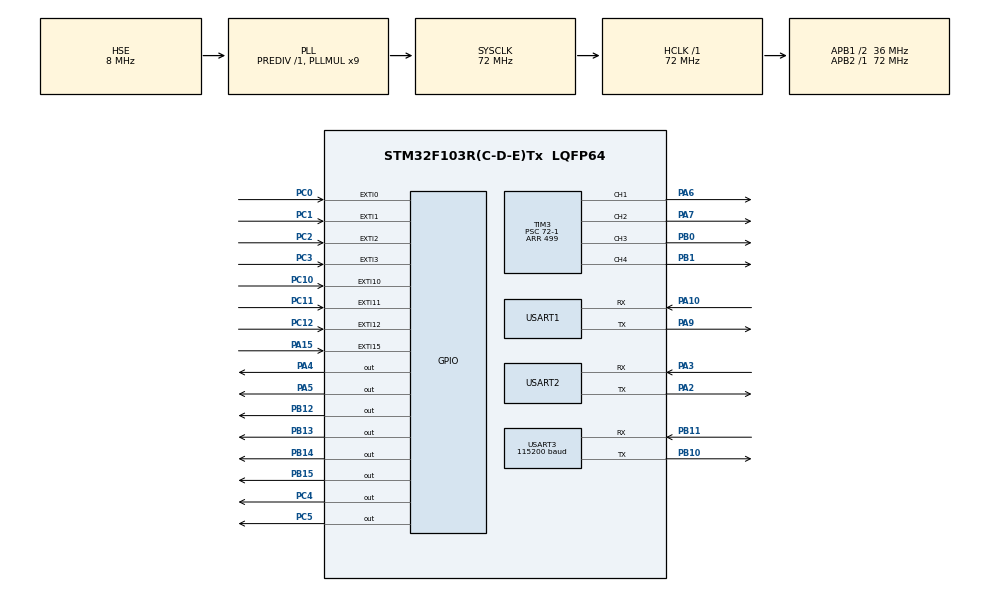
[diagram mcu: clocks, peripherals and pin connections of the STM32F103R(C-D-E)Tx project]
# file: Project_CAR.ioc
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Dma.Request0=USART3_RX
Dma.Request1=USART1_RX
Dma.Request2=USART2_RX
Dma.USART1_RX.1.Direction=DMA_PERIPH_TO_MEMORY
Dma.USART1_RX.1.Instance=DMA1_Channel5
Dma.USART1_RX.1.MemDataAlignment=DMA_MDATAALIGN_BYTE
Dma.USART1_RX.1.MemInc=DMA_MINC_ENABLE
Dma.USART1_RX.1.Mode=DMA_NORMAL
Dma.USART1_RX.1.PeriphDataAlignment=DMA_PDATAALIGN_BYTE
Dma.USART1_RX.1.PeriphInc=DMA_PINC_DISABLE
Dma.USART1_RX.1.Priority=DMA_PRIORITY_LOW
Dma.USART2_RX.2.Direction=DMA_PERIPH_TO_MEMORY
Dma.USART2_RX.2.Instance=DMA1_Channel6
Dma.USART2_RX.2.MemDataAlignment=DMA_MDATAALIGN_BYTE
Dma.USART2_RX.2.MemInc=DMA_MINC_ENABLE
Dma.USART2_RX.2.Mode=DMA_CIRCULAR
Dma.USART2_RX.2.PeriphDataAlignment=DMA_PDATAALIGN_BYTE
Dma.USART2_RX.2.PeriphInc=DMA_PINC_DISABLE
Dma.USART2_RX.2.Priority=DMA_PRIORITY_LOW
Dma.USART3_RX.0.Direction=DMA_PERIPH_TO_MEMORY
Dma.USART3_RX.0.Instance=DMA1_Channel3
Dma.USART3_RX.0.MemDataAlignment=DMA_MDATAALIGN_BYTE
Dma.USART3_RX.0.MemInc=DMA_MINC_ENABLE
Dma.USART3_RX.0.Mode=DMA_NORMAL
Dma.USART3_RX.0.PeriphDataAlignment=DMA_PDATAALIGN_BYTE
Dma.USART3_RX.0.PeriphInc=DMA_PINC_DISABLE
Dma.USART3_RX.0.Priority=DMA_PRIORITY_LOW
Mcu.Family=STM32F1
Mcu.Name=STM32F103R(C-D-E)Tx
Mcu.Package=LQFP64
NVIC.DMA1_Channel3_IRQn=true\:0\:0\:false\:false\:true\:false\:true\:true
NVIC.DMA1_Channel5_IRQn=true\:0\:0\:false\:false\:true\:false\:true\:true
NVIC.DMA1_Channel6_IRQn=true\:0\:0\:false\:false\:true\:false\:true\:true
NVIC.EXTI0_IRQn=true\:0\:0\:false\:false\:true\:true\:true\:true
NVIC.EXTI15_10_IRQn=true\:0\:0\:false\:false\:true\:true\:true\:true
NVIC.EXTI1_IRQn=true\:0\:0\:false\:false\:true\:true\:true\:true
NVIC.EXTI2_IRQn=true\:0\:0\:false\:false\:true\:true\:true\:true
NVIC.EXTI3_IRQn=true\:0\:0\:false\:false\:true\:true\:true\:true
NVIC.PriorityGroup=NVIC_PRIORITYGROUP_4
NVIC.TIM2_IRQn=true\:0\:0\:false\:false\:true\:true\:true\:true
NVIC.USART1_IRQn=true\:0\:0\:false\:false\:true\:true\:true\:true
NVIC.USART2_IRQn=true\:0\:0\:false\:false\:true\:true\:true\:true
NVIC.USART3_IRQn=true\:0\:0\:false\:false\:true\:true\:true\:true
PA10.Mode=Asynchronous
PA10.Signal=USART1_RX
PA13.Mode=Serial_Wire
PA13.Signal=SYS_JTMS-SWDIO
PA14.Mode=Serial_Wire
PA14.Signal=SYS_JTCK-SWCLK
PA15.GPIO_ModeDefaultEXTI=GPIO_MODE_IT_RISING_FALLING
PA15.Signal=GPXTI15
PA2.Mode=Asynchronous
PA2.Signal=USART2_TX
PA3.Mode=Asynchronous
PA3.Signal=USART2_RX
PA4.Signal=GPIO_Output
PA5.Signal=GPIO_Output
PA6.Signal=S_TIM3_CH1
PA7.Signal=S_TIM3_CH2
PA9.Mode=Asynchronous
PA9.Signal=USART1_TX
PB0.Signal=S_TIM3_CH3
PB1.Signal=S_TIM3_CH4
PB10.Mode=Asynchronous
PB10.Signal=USART3_TX
PB11.Mode=Asynchronous
PB11.Signal=USART3_RX
PB12.Signal=GPIO_Output
PB13.Signal=GPIO_Output
PB14.Signal=GPIO_Output
PB15.Signal=GPIO_Output
PC0.GPIO_ModeDefaultEXTI=GPIO_MODE_IT_RISING_FALLING
PC0.Signal=GPXTI0
PC1.GPIO_ModeDefaultEXTI=GPIO_MODE_IT_RISING_FALLING
PC1.Signal=GPXTI1
PC10.GPIO_ModeDefaultEXTI=GPIO_MODE_IT_RISING_FALLING
PC10.Signal=GPXTI10
PC11.GPIO_ModeDefaultEXTI=GPIO_MODE_IT_RISING_FALLING
PC11.Signal=GPXTI11
PC12.GPIO_ModeDefaultEXTI=GPIO_MODE_IT_RISING_FALLING
PC12.Signal=GPXTI12
PC2.GPIO_ModeDefaultEXTI=GPIO_MODE_IT_RISING_FALLING
PC2.Signal=GPXTI2
PC3.GPIO_ModeDefaultEXTI=GPIO_MODE_IT_RISING_FALLING
PC3.Signal=GPXTI3
PC4.Signal=GPIO_Output
PC5.Signal=GPIO_Output
PD0-OSC_IN.Mode=HSE-External-Oscillator
PD0-OSC_IN.Signal=RCC_OSC_IN
PD1-OSC_OUT.Mode=HSE-External-Oscillator
PD1-OSC_OUT.Signal=RCC_OSC_OUT
ProjectManager.HeapSize=0x200
ProjectManager.StackSize=0x400
ProjectManager.TargetToolchain=MDK-ARM V5.32
RCC.AHBFreq_Value=72000000
RCC.APB1CLKDivider=RCC_HCLK_DIV2
RCC.APB1Freq_Value=36000000
RCC.APB1TimFreq_Value=72000000
RCC.APB2Freq_Value=72000000
RCC.APB2TimFreq_Value=72000000
RCC.HCLKFreq_Value=72000000
RCC.PLLMUL=RCC_PLL_MUL9
RCC.PLLSourceVirtual=RCC_PLLSOURCE_HSE
RCC.SYSCLKFreq_VALUE=72000000
RCC.SYSCLKSource=RCC_SYSCLKSOURCE_PLLCLK
RCC.USBFreq_Value=72000000
SH.S_TIM3_CH1.0=TIM3_CH1,PWM Generation1 CH1
SH.S_TIM3_CH2.0=TIM3_CH2,PWM Generation2 CH2
SH.S_TIM3_CH3.0=TIM3_CH3,PWM Generation3 CH3
SH.S_TIM3_CH4.0=TIM3_CH4,PWM Generation4 CH4
TIM2.AutoReloadPreload=TIM_AUTORELOAD_PRELOAD_ENABLE
TIM2.Period=10000-1
TIM2.Prescaler=72-1
TIM3.AutoReloadPreload=TIM_AUTORELOAD_PRELOAD_ENABLE
TIM3.Channel-PWM\ Generation1\ CH1=TIM_CHANNEL_1
TIM3.Channel-PWM\ Generation2\ CH2=TIM_CHANNEL_2
TIM3.Channel-PWM\ Generation3\ CH3=TIM_CHANNEL_3
TIM3.Channel-PWM\ Generation4\ CH4=TIM_CHANNEL_4
TIM3.OCPolarity_1=TIM_OCPOLARITY_HIGH
TIM3.OCPolarity_2=TIM_OCPOLARITY_HIGH
TIM3.Period=499
TIM3.Prescaler=72-1
USART1.VirtualMode=VM_ASYNC
USART2.VirtualMode=VM_ASYNC
USART3.BaudRate=115200
USART3.VirtualMode=VM_ASYNC
VP_TIM2_VS_ClockSourceINT.Mode=Internal
VP_TIM3_VS_ClockSourceINT.Mode=Internal
board=custom

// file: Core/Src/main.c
/* USER CODE BEGIN Header */
/**
 ******************************************************************************
 * @file           : main.c
 * @brief          : Main program body
 ******************************************************************************
 * @attention
 *
 * Copyright (c) 2023 STMicroelectronics.
 * All rights reserved.
 *
 * This software is licensed under terms that can be found in the LICENSE file
 * in the root directory of this software component.
 * If no LICENSE file comes with this software, it is provided AS-IS.
 *
 ******************************************************************************
 */
/* USER CODE END Header */
#include "main.h"
#include "dma.h"
#include "tim.h"
#include "usart.h"
#include "gpio.h"
#include "zigbee_edc25.h"
#include <stdlib.h>
#include <string.h>
#include <stdbool.h>

void SystemClock_Config(void);

/* USER CODE BEGIN 0 */
int count;
int count1;
int count2;
int count3;
float YAW;
float startYAW;
int state = 0;
pid_str pidstr;
pid_str pidstr1;
pid_str pidstr2;
pid_str pidstr3;
#define PID_MIN -400
#define PID_MAX 400
#define LENGTH 8
int dir;
extern int printf_port;
void runrunrun();

uint8_t u1_RX_Buf[6] = {0};

// 定义全局变量
typedef struct
{
    int x;
    int y;
} Position;
Position des_pos;
// 定义全局变量
int startFlag = 0;
Position my_home_pos;
Position op_home_pos;
Position my_pos;
Position op_pos;
int map_height[8][8];
uint8_t map[8][8] = {
    0,
    2,
    0,
    1,
    0,
    0,
    0,
    0,
    0,
    0,
    0,
    0,
    0,
    0,
    0,
    0,
    1,
    0,
    0,
    0,
    0,
    0,
    0,
    0,
    0,
    0,
    0,
    0,
    0,
    0,
    0,
    0,
    0,
    0,
    0,
    0,
    0,
    0,
    0,
    1,
    0,
    0,
    0,
    0,
    0,
    2,
    0,
    0,
};
// 可调参数
int stole_height = 3;
int stole_wool_num = 8;
int stole_step = 8;
int move_wool_num = 16;
int mine_wool_num = 16;
int safe_home_height = 5;
int agility_limit = 20;
int strength_limit = 20;
int health_limit = 5;
int health_height_limit = 35;

// 地图信息
// 需要调控好顺序，靠近自己这方的放在前后
int gold_num;
int dia_num;
int iron_num;
bool gold_judge = true;
bool dia_judge = true;
bool iron_judge = true;
// 在全局作用域内声明指针并用NULL初始化
Position *gold_pos_list = NULL;
Position *dia_pos_list = NULL;
Position *iron_pos_list = NULL;
// 函数声明
//  辅助函数
//  将chunk_id转换为坐标
//  设定目标位置
void Destination();
void Destination2();
void DestinationSet(int x, int y);
// 获得目标位置
Position_edc25 DestinationGet();
// 启动小车
void StartMoving();
// 停止小车
void StopMoving();
void getHeightAllChunks();
int getHeightOfChunk(int chunk_id);
void getMyPosition(Position *my_pos);
void getMyOpponentPosition(Position *op_pos);
Position_edc25 chunk_id_to_pos(int chunk_id);
// 将坐标转换为chunk_id
int pos_to_chunk_id(Position pos);
// 计算两点之间的曼哈顿距离
int get_distance(Position pos1, Position pos2);
// 确定己方以及对方家的位置，初始化时完成
void get_home_pos();
// 释放分配的内存
void freePosPath(Position_edc25 *pos_path);
// 回溯法生成所有路径
void backtrack(char **paths, int *pathCount, char *path, int left_steps, int up_steps, int index);
char **generatePaths(int x, int y, int *pathCount);
Position *find_path(Position start, Position end, int *wool_need);
bool track(Position my_pos, Position des_pos, int wool_num);
void attack();
// 黄金矿
int gold_mining();
// 铁矿
int iron_mining();
// 偷家函数
bool steal();
// 死亡循迹函数
bool move_to_pos(Position my_home_pos);
// 死亡函数
void die();
void turn_left();
void turn_right();
void moveOneBlock(Position now, Position target);
/* USER CODE END 0 */

int main(void)
{
    /* USER CODE BEGIN 1 */
    /* USER CODE BEGIN 1 */

    /* USER CODE END 1 */

    /* MCU Configuration--------------------------------------------------------*/

    /* Reset of all peripherals, Initializes the Flash interface and the Systick. */
    HAL_Init();

    /* Configure the system clock */
    SystemClock_Config();

    /* Initialize all configured peripherals */
    MX_GPIO_Init();
    MX_DMA_Init();
    MX_TIM3_Init();
    MX_USART1_UART_Init();
    MX_USART2_UART_Init();
    MX_TIM2_Init();
    MX_USART3_UART_Init();
    HAL_UART_Receive_DMA(&huart1, u1_RX_Buf, 1);
    /* USER CODE BEGIN 2 */
    jy62_Init(&huart3);
    zigbee_Init(&huart2);
    HAL_TIM_Base_Start_IT(&htim2);
    HAL_TIM_PWM_Start(&htim3, TIM_CHANNEL_1);
    HAL_TIM_PWM_Start(&htim3, TIM_CHANNEL_2);
    HAL_TIM_PWM_Start(&htim3, TIM_CHANNEL_3);
    HAL_TIM_PWM_Start(&htim3, TIM_CHANNEL_4);
    HAL_GPIO_WritePin(GPIOB, GPIO_PIN_12, GPIO_PIN_SET);
    HAL_GPIO_WritePin(GPIOB, GPIO_PIN_13, GPIO_PIN_RESET);
    HAL_GPIO_WritePin(GPIOB, GPIO_PIN_14, GPIO_PIN_SET);
    HAL_GPIO_WritePin(GPIOB, GPIO_PIN_15, GPIO_PIN_RESET);
    HAL_GPIO_WritePin(GPIOA, GPIO_PIN_4, GPIO_PIN_SET);
    HAL_GPIO_WritePin(GPIOA, GPIO_PIN_5, GPIO_PIN_RESET);
    HAL_GPIO_WritePin(GPIOC, GPIO_PIN_4, GPIO_PIN_SET);
    HAL_GPIO_WritePin(GPIOC, GPIO_PIN_5, GPIO_PIN_RESET);
    __HAL_TIM_SET_COMPARE(&htim3, TIM_CHANNEL_1, 0);
    __HAL_TIM_SET_COMPARE(&htim3, TIM_CHANNEL_2, 0);
    __HAL_TIM_SET_COMPARE(&htim3, TIM_CHANNEL_3, 0);
    __HAL_TIM_SET_COMPARE(&htim3, TIM_CHANNEL_4, 0);
    pidstr.Kd = 70;
    pidstr.Ki = 7;
    pidstr.Kp = 40;
    pidstr.lr = 0;
    pidstr.sum = 0;
    pidstr1.Kd = 70;
    pidstr1.Ki = 7;
    pidstr1.Kp = 40;
    pidstr1.lr = 0;
    pidstr1.sum = 0;
    pidstr2.Kd = 70;
    pidstr2.Ki = 7;
    pidstr2.Kp = 40;
    pidstr2.lr = 0;
    pidstr2.sum = 0;
    pidstr3.Kd = 70;
    pidstr3.Ki = 7;
    pidstr3.Kp = 40;
    pidstr3.lr = 0;
    pidstr3.sum = 0;
    /* USER CODE END 2 */

    /* Infinite loop */
    /* USER CODE BEGIN WHILE */
    SetBaud(115200);
    SetHorizontal();
    InitAngle();
    Calibrate();
    SleepOrAwake();
    uint8_t hp = 0;
    uint8_t Aglity = 0;
    uint8_t count = 0;
    uint8_t time = 0;
    Position_edc25 Pos;
    Position_edc25 OpponentPos;
    uint8_t Height[64];
    gold_pos_list = (Position *)malloc(gold_num * sizeof(Position));
    dia_pos_list = (Position *)malloc(dia_num * sizeof(Position));
    iron_pos_list = (Position *)malloc(iron_num * sizeof(Position));
    bool judge;
    bool first = true;
    while (1)
    {
        /* USER CODE END WHILE */

        /* USER CODE BEGIN 3 */
        // __HAL_TIM_SetCompare(&htim3, TIM_CHANNEL_1, 0);
        // __HAL_TIM_SetCompare(&htim3, TIM_CHANNEL_2, 0);
        // __HAL_TIM_SetCompare(&htim3, TIM_CHANNEL_3, 0);
        // __HAL_TIM_SetCompare(&htim3, TIM_CHANNEL_4, 0);
        printf_port = 1;
        float roll = GetRoll();
        float pitch = GetPitch();
        float yaw = GetYaw();
        YAW = yaw;
        printf("ROW: %f, PITCH:%f, YAW:%f\r\n", roll, pitch, yaw);
        hp = getHealth();
        time = getGameTime();
        Aglity = getAglity();
        count = getWoolCount();
        if (time != 0 && time < 2000)
        {
            printf("time:%d\r\n", time);
            printf("hp:%d\r\n", hp);
            printf("Aglity:%d\r\n", Aglity);
        }
        while (getGameStage() == 0)
        {
            my_home_pos.x = 0;
            my_home_pos.y = 0;
        }

        // 游戏阶段
        while (getGameStage() == 1)
        {
            Position_edc25 tp_pos;
            getPosition(&tp_pos);
            my_home_pos.x = tp_pos.posx;
            my_home_pos.y = tp_pos.posy;
            move_to_pos(my_home_pos);
        }
        // trade_id(1);
        // HAL_Delay(10000);
        // turn_left();
        // DestinationSet(0, 1);
        // }
        // getPosition(&Pos);
        // if (startFlag == 1)
        // {
        //     int countYellow = 0;
        //     int countBlue = 0;
        //     for (int i = 0; i < 8; i++)
        //     {
        //         for (int j = 0; j < 8; j++)
        //         {
        //             if (map[i][j] == 1)
        //             {
        //                 Position pos = {i, j};
        //                 gold_pos_list[countYellow] = pos;
        //             }
        //             if (map[i][j] == 2)
        //             {
        //                 Position pos = {i, j};
        //                 dia_pos_list[countBlue] = pos;
        //             }
        //         }
        //     }

        //     以下为策略代码

        //     while (getGameStage() == 1)
        //     {
        //         die();
        //         超过10分钟，进入对抗阶段
        //         if (getGameTime() >= 600)
        //         {
        //             break;
        //         }
        //         能偷家就偷
        //         if (steal(map_height))
        //         {
        //             getHeightAllChunks();
        //             getMyPosition(&my_pos);
        //             judge = track(my_pos, my_home_pos, getWoolCount());
        //             if (judge == false)
        //             {
        //                 move_to_pos(my_home_pos);
        //             }
        //             continue;
        //         }
        //         前期采矿
        //         if (getWoolCount() < move_wool_num)
        //         {
        //             if (first)
        //             {
        //                 dia_mining_first();
        //                 first = false;
        //             }
        //             else
        //             {
        //                 dia_mining();
        //             }
        //             getHeightAllChunks();
        //             getMyPosition(&my_pos);
        //             judge = track(my_pos, my_home_pos, getWoolCount());
        //             if (judge == false)
        //             {
        //                 move_to_pos(my_home_pos);
        //             }
        //             while (getEmeraldCount() >= 2)
        //             {
        //                 trade_id(3);
        //             }
        //             while (getHeightOfChunk(pos_to_chunk_id(my_home_pos)) <= safe_home_height && getWoolCount() > 0)
        //             {
        //                 place_block_id(pos_to_chunk_id(my_home_pos));
        //             }
        //             gold_mining();
        //             getHeightAllChunks();
        //             getMyPosition(&my_pos);
        //             judge = track(my_pos, my_home_pos, getWoolCount());
        //             if (judge == false)
        //             {
        //                 move_to_pos(my_home_pos);
        //             }
        //             while (getEmeraldCount() >= 2)
        //             {
        //                 trade_id(3);
        //             }
        //             while (getHeightOfChunk(pos_to_chunk_id(my_home_pos)) <= safe_home_height && getWoolCount() > 0)
        //             {
        //                 place_block_id(pos_to_chunk_id(my_home_pos));
        //             }
        //         }
        //         后期采矿
        //         else
        //         {
        //             dia_mining();
        //             gold_mining();
        //             getHeightAllChunks();
        //             getMyPosition(&my_pos);
        //             judge = track(my_pos, my_home_pos, getWoolCount());
        //             if (judge == false)
        //             {
        //                 move_to_pos(my_home_pos);
        //             }
        //             while (getHeightOfChunk(pos_to_chunk_id(my_home_pos)) <= safe_home_height && getWoolCount() > 0)
        //             {
        //                 place_block_id(pos_to_chunk_id(my_home_pos));
        //             }
        //             while (getEmeraldCount() >= 32 && getAglity() < agility_limit)
        //             {
        //                 trade_id(0);
        //             }
        //             while (getEmeraldCount() >= 64 && getStrength() < strength_limit)
        //             {
        //                 trade_id(2);
        //             }
        //             while (getEmeraldCount() >= 32 && getMaxHealth() < health_height_limit)
        //             {
        //                 trade_id(4);
        //             }
        //         }
        //     }

        //     战斗
        //     while (getGameStage() == 1)
        //     {
        //         if (getHealth() < 5)
        //         {
        //             attack();
        //             getHeightAllChunks();
        //             getMyPosition(&my_pos);
        //             judge = track(my_pos, my_home_pos, getWoolCount());
        //             if (judge == false)
        //             {
        //                 StopMoving();
        //                 continue;
        //             }
        //             while (getEmeraldCount() >= 32)
        //             {
        //                 trade_id(1);
        //             }
        //             while (getEmeraldCount() >= 64 && getStrength() < strength_limit)
        //             {
        //                 trade_id(2);
        //             }
        //             while (getEmeraldCount() >= 32 && getMaxHealth() < health_height_limit)
        //             {
        //                 trade_id(4);
        //             }
        //         }
        //         攻击不到对方，窝家里
        //         getHeightAllChunks();
        //         getMyPosition(&my_pos);
        //         getMyOpponentPosition(&op_pos);
        //         int judge = track(my_pos, op_pos, getWoolCount());
        //         if (judge == 0)
        //         {
        //             StopMoving();
        //             attack();
        //             continue;
        //         }
        //         attack();
        //     }

        //     结束
        //     while (getGameStage() == 2)
        //     {
        //         StopMoving();
        //     }
        // }
    }
    /* USER CODE END 3 */
}

void SystemClock_Config(void)
{
    RCC_OscInitTypeDef RCC_OscInitStruct = {0};
    RCC_ClkInitTypeDef RCC_ClkInitStruct = {0};

    /** Initializes the RCC Oscillators according to the specified parameters
     * in the RCC_OscInitTypeDef structure.
     */
    RCC_OscInitStruct.OscillatorType = RCC_OSCILLATORTYPE_HSE;
    RCC_OscInitStruct.HSEState = RCC_HSE_ON;
    RCC_OscInitStruct.HSEPredivValue = RCC_HSE_PREDIV_DIV1;
    RCC_OscInitStruct.HSIState = RCC_HSI_ON;
    RCC_OscInitStruct.PLL.PLLState = RCC_PLL_ON;
    RCC_OscInitStruct.PLL.PLLSource = RCC_PLLSOURCE_HSE;
    RCC_OscInitStruct.PLL.PLLMUL = RCC_PLL_MUL9;
    if (HAL_RCC_OscConfig(&RCC_OscInitStruct) != HAL_OK)
    {
        Error_Handler();
    }

    /** Initializes the CPU, AHB and APB buses clocks
     */
    RCC_ClkInitStruct.ClockType = RCC_CLOCKTYPE_HCLK | RCC_CLOCKTYPE_SYSCLK | RCC_CLOCKTYPE_PCLK1 | RCC_CLOCKTYPE_PCLK2;
    RCC_ClkInitStruct.SYSCLKSource = RCC_SYSCLKSOURCE_PLLCLK;
    RCC_ClkInitStruct.AHBCLKDivider = RCC_SYSCLK_DIV1;
    RCC_ClkInitStruct.APB1CLKDivider = RCC_HCLK_DIV2;
    RCC_ClkInitStruct.APB2CLKDivider = RCC_HCLK_DIV1;

    if (HAL_RCC_ClockConfig(&RCC_ClkInitStruct, FLASH_LATENCY_2) != HAL_OK)
    {
        Error_Handler();
    }
}

/* USER CODE BEGIN 4 */

void Code1()
{
    if (HAL_GPIO_ReadPin(GPIOC, GPIO_PIN_2) == 0) // 判断A为下降沿
    {
        if (HAL_GPIO_ReadPin(GPIOC, GPIO_PIN_3) == 0) // 正转
        {
            count += 1;
        }
        if (HAL_GPIO_ReadPin(GPIOC, GPIO_PIN_3) == 1) // 反转
        {
            count -= 1;
        }
    }
    else
    {
        if (HAL_GPIO_ReadPin(GPIOC, GPIO_PIN_3) == 0) // 正转
        {
            count -= 1;
        }
        if (HAL_GPIO_ReadPin(GPIOC, GPIO_PIN_3) == 1) // 反转
        {
            count += 1;
        }
    }
}
void Code0()
{
    if (HAL_GPIO_ReadPin(GPIOC, GPIO_PIN_2) == 0) // 判断A为下降沿
    {
        if (HAL_GPIO_ReadPin(GPIOC, GPIO_PIN_3) == 0) // 正转
        {
            count -= 1;
        }
        if (HAL_GPIO_ReadPin(GPIOC, GPIO_PIN_3) == 1) // 反转
        {
            count += 1;
        }
    }
    else
    {
        if (HAL_GPIO_ReadPin(GPIOC, GPIO_PIN_3) == 0) // 正转
        {
            count += 1;
        }
        if (HAL_GPIO_ReadPin(GPIOC, GPIO_PIN_3) == 1) // 反转
        {
            count -= 1;
        }
    }
}
void Code2()
{
    if (HAL_GPIO_ReadPin(GPIOC, GPIO_PIN_0) == 0) // 判断A为下降沿
    {
        if (HAL_GPIO_ReadPin(GPIOC, GPIO_PIN_1) == 0) // 正转
        {
            count1 += 1;
        }
        if (HAL_GPIO_ReadPin(GPIOC, GPIO_PIN_1) == 1) // 反转
        {
            count1 -= 1;
        }
    }
    else
    {
        if (HAL_GPIO_ReadPin(GPIOC, GPIO_PIN_1) == 0) // 正转
        {
            count1 -= 1;
        }
        if (HAL_GPIO_ReadPin(GPIOC, GPIO_PIN_1) == 1) // 反转
        {
            count1 += 1;
        }
    }
}
void Code3()
{
    if (HAL_GPIO_ReadPin(GPIOC, GPIO_PIN_0) == 0) // 判断A为下降沿
    {
        if (HAL_GPIO_ReadPin(GPIOC, GPIO_PIN_1) == 0) // 正转
        {
            count1 -= 1;
        }
        if (HAL_GPIO_ReadPin(GPIOC, GPIO_PIN_1) == 1) // 反转
        {
            count1 += 1;
        }
    }
    else
    {
        if (HAL_GPIO_ReadPin(GPIOC, GPIO_PIN_1) == 0) // 正转
        {
            count1 += 1;
        }
        if (HAL_GPIO_ReadPin(GPIOC, GPIO_PIN_1) == 1) // 反转
        {
            count1 -= 1;
        }
    }
}
void code5()
{
    if (HAL_GPIO_ReadPin(GPIOA, GPIO_PIN_15) == 0) // 判断A为下降沿
    {
        if (HAL_GPIO_ReadPin(GPIOC, GPIO_PIN_10) == 0) // 正转
        {
            count2 += 1;
        }
        if (HAL_GPIO_ReadPin(GPIOC, GPIO_PIN_10) == 1) // 反转
        {
            count2 -= 1;
        }
    }
    else
    {
        if (HAL_GPIO_ReadPin(GPIOC, GPIO_PIN_10) == 0) // 正转
        {
            count2 -= 1;
        }
        if (HAL_GPIO_ReadPin(GPIOC, GPIO_PIN_10) == 1) // 反转
        {
            count2 += 1;
        }
    }
}
void code6()
{
    if (HAL_GPIO_ReadPin(GPIOA, GPIO_PIN_15) == 0) // 判断A为下降沿
    {
        if (HAL_GPIO_ReadPin(GPIOC, GPIO_PIN_10) == 0) // 正转
        {
            count2 -= 1;
        }
        if (HAL_GPIO_ReadPin(GPIOC, GPIO_PIN_10) == 1) // 反转
        {
            count2 += 1;
        }
    }
    else
    {
        if (HAL_GPIO_ReadPin(GPIOC, GPIO_PIN_10) == 0) // 正转
        {
            count2 += 1;
        }
        if (HAL_GPIO_ReadPin(GPIOC, GPIO_PIN_10) == 1) // 反转
        {
            count2 -= 1;
        }
    }
}
void code7()
{
    if (HAL_GPIO_ReadPin(GPIOC, GPIO_PIN_11) == 0) // 判断A为下降沿
    {
        if (HAL_GPIO_ReadPin(GPIOC, GPIO_PIN_12) == 0) // 正转
        {
            count3 += 1;
        }
        if (HAL_GPIO_ReadPin(GPIOC, GPIO_PIN_12) == 1) // 反转
        {
            count3 -= 1;
        }
    }
    else
    {
        if (HAL_GPIO_ReadPin(GPIOC, GPIO_PIN_12) == 0) // 正转
        {
            count3 -= 1;
        }
        if (HAL_GPIO_ReadPin(GPIOC, GPIO_PIN_12) == 1) // 反转
        {
            count3 += 1;
        }
    }
}
void code8()
{
    if (HAL_GPIO_ReadPin(GPIOC, GPIO_PIN_11) == 0) // 判断A为下降沿
    {
        if (HAL_GPIO_ReadPin(GPIOC, GPIO_PIN_12) == 0) // 正转
        {
            count3 -= 1;
        }
        if (HAL_GPIO_ReadPin(GPIOC, GPIO_PIN_12) == 1) // 反转
        {
            count3 += 1;
        }
    }
    else
    {
        if (HAL_GPIO_ReadPin(GPIOC, GPIO_PIN_12) == 0) // 正转
        {
            count3 += 1;
        }
        if (HAL_GPIO_ReadPin(GPIOC, GPIO_PIN_12) == 1) // 反转
        {
            count3 -= 1;
        }
    }
}

float pid(pid_str *p, float dr)
{
    if (p->cset > 4)
        p->cset = 4;
    if (p->cset < -4)
        p->cset = -4;
    p->sum = p->sum + dr;
    if (p->sum > 500 || p->sum < -500)
        p->sum = 0;
    float pwm = p->Kp * dr + p->Ki * p->sum + p->Kd * (dr - p->lr);
    p->lr = dr;
    if (pwm >= PID_MAX)
        return PID_MAX;
    else if (pwm <= PID_MIN)
        return PID_MIN;
    return pwm;
}

void runrunrun()
{
    float cnow = count / 10.592;
    float cnow1 = count1 / 10.602;
    float cnow2 = count2 / 10.647;
    float cnow3 = count3 / 10.61;
    count = 0;
    count1 = 0;
    count2 = 0;
    count3 = 0;
    float dr = pidstr.cset - cnow;
    float dr1 = pidstr1.cset - cnow1;
    float dr2 = pidstr2.cset - cnow2;
    float dr3 = pidstr3.cset - cnow3;
    float pwm = pid(&pidstr, dr);
    float pwm1 = pid(&pidstr1, dr1);
    float pwm2 = pid(&pidstr2, dr2);
    float pwm3 = pid(&pidstr3, dr3);
    if (pidstr.cset > 0)
    {
        HAL_GPIO_WritePin(GPIOA, GPIO_PIN_4, GPIO_PIN_RESET);
        HAL_GPIO_WritePin(GPIOA, GPIO_PIN_5, GPIO_PIN_SET);
        __HAL_TIM_SetCompare(&htim3, TIM_CHANNEL_1, pwm);
    }
    if (pidstr.cset < 0)
    {
        HAL_GPIO_WritePin(GPIOA, GPIO_PIN_4, GPIO_PIN_SET);
        HAL_GPIO_WritePin(GPIOA, GPIO_PIN_5, GPIO_PIN_RESET);
        __HAL_TIM_SetCompare(&htim3, TIM_CHANNEL_1, pwm);
    }
    if (pidstr.cset == 0)
    {
        pidstr.lr = 0;
        pidstr.sum = 0;
        __HAL_TIM_SetCompare(&htim3, TIM_CHANNEL_1, 0);
    }
    if (pidstr1.cset > 0)
    {
        HAL_GPIO_WritePin(GPIOC, GPIO_PIN_4, GPIO_PIN_SET);
        HAL_GPIO_WritePin(GPIOC, GPIO_PIN_5, GPIO_PIN_RESET);
        __HAL_TIM_SetCompare(&htim3, TIM_CHANNEL_2, pwm1);
    }
    if (pidstr1.cset < 0)
    {
        HAL_GPIO_WritePin(GPIOC, GPIO_PIN_4, GPIO_PIN_RESET);
        HAL_GPIO_WritePin(GPIOC, GPIO_PIN_5, GPIO_PIN_SET);
        __HAL_TIM_SetCompare(&htim3, TIM_CHANNEL_2, pwm1);
    }
    if (pidstr1.cset == 0)
    {
        pidstr1.lr = 0;
        pidstr1.sum = 0;
        __HAL_TIM_SetCompare(&htim3, TIM_CHANNEL_2, 0);
    }
    if (pidstr2.cset > 0)
    {
        HAL_GPIO_WritePin(GPIOB, GPIO_PIN_14, GPIO_PIN_RESET);
        HAL_GPIO_WritePin(GPIOB, GPIO_PIN_15, GPIO_PIN_SET);
        __HAL_TIM_SetCompare(&htim3, TIM_CHANNEL_3, pwm2);
    }
    if (pidstr2.cset < 0)
    {
        HAL_GPIO_WritePin(GPIOB, GPIO_PIN_14, GPIO_PIN_SET);
        HAL_GPIO_WritePin(GPIOB, GPIO_PIN_15, GPIO_PIN_RESET);
        __HAL_TIM_SetCompare(&htim3, TIM_CHANNEL_3, pwm2);
    }
    if (pidstr2.cset == 0)
    {
        pidstr2.lr = 0;
        pidstr2.sum = 0;
        __HAL_TIM_SetCompare(&htim3, TIM_CHANNEL_3, 0);
    }
    if (pidstr3.cset > 0)
    {
        HAL_GPIO_WritePin(GPIOB, GPIO_PIN_12, GPIO_PIN_SET);
        HAL_GPIO_WritePin(GPIOB, GPIO_PIN_13, GPIO_PIN_RESET);
        __HAL_TIM_SetCompare(&htim3, TIM_CHANNEL_4, pwm3);
    }
    if (pidstr3.cset < 0)
    {
        HAL_GPIO_WritePin(GPIOB, GPIO_PIN_12, GPIO_PIN_RESET);
        HAL_GPIO_WritePin(GPIOB, GPIO_PIN_13, GPIO_PIN_SET);
        __HAL_TIM_SetCompare(&htim3, TIM_CHANNEL_4, pwm3);
    }
    if (pidstr3.cset == 0)
    {
        pidstr3.lr = 0;
        pidstr3.sum = 0;
        __HAL_TIM_SetCompare(&htim3, TIM_CHANNEL_4, 0);
    }
}

void HAL_GPIO_EXTI_Callback(uint16_t GPIO_Pin)
{
    if (GPIO_Pin == GPIO_PIN_2)
    {
        Code1();
    }
    if (GPIO_Pin == GPIO_PIN_3)
    {
        Code0();
    }
    if (GPIO_Pin == GPIO_PIN_0)
    {
        Code2();
    }
    if (GPIO_Pin == GPIO_PIN_1)
    {
        Code3();
    }
    if (GPIO_Pin == GPIO_PIN_10)
    {
        code5();
    }
    if (GPIO_Pin == GPIO_PIN_15)
    {
        code6();
    }
    if (GPIO_Pin == GPIO_PIN_11)
    {
        code7();
    }
    if (GPIO_Pin == GPIO_PIN_12)
    {
        code8();
    }
}

void HAL_TIM_PeriodElapsedCallback(TIM_HandleTypeDef *htim)
{
    if (htim == (&htim2))
    {
        printf_port = 1;
        runrunrun();
        // printf("count = %d\r\n", count / 4);
        // printf("count1 = %d\r\n", count1 / 4);
        // printf("count2 = %d\r\n", count2 / 4);
        // printf("count3 = %d\r\n", count3 / 4);
    }
}
void forward()
{
    pidstr.cset = 1.5;
    pidstr1.cset = -1.5;
    pidstr2.cset = 1.5;
    pidstr3.cset = -1.5;
}
void backward()
{
    pidstr.cset = -1.5;
    pidstr1.cset = 1.5;
    pidstr2.cset = -1.5;
    pidstr3.cset = 1.5;
}
void stop()
{
    pidstr.cset = 0;
    pidstr1.cset = 0;
    pidstr2.cset = 0;
    pidstr3.cset = 0;
}
void rightward()
{
    pidstr.cset = 1.5;
    pidstr1.cset = 1.5;
    pidstr2.cset = 1.5;
    pidstr3.cset = 1.5;
}
void leftward()
{
    pidstr.cset = -1.5;
    pidstr1.cset = -1.5;
    pidstr2.cset = -1.5;
    pidstr3.cset = -1.5;
}
void Destination()
{
    HAL_Delay(1000);
    place_block_id(1);
    forward();
    Position_edc25 temp; // 用于存储当前位置
    getPosition(&temp);  // 获取当前位置
    while (temp.posx < 1.4)
    {
        getPosition(&temp); // 获取当前位置
    }
    stop();
    HAL_Delay(500);

    backward();
    getPosition(&temp); // 获取当前位置
    while (temp.posx >= 0.8)
    {
        getPosition(&temp); // 获取当前位置
    }
    stop();
    HAL_Delay(1000);
    for (int i = 0; i < 5; i++)
    {
        trade_id(3);
        HAL_Delay(50);
    }
    HAL_Delay(1000);

    forward();
    getPosition(&temp); // 获取当前位置
    while (temp.posx < 1.4)
    {
        getPosition(&temp); // 获取当前位置
    }
    stop();
    HAL_Delay(500);

    place_block_id(2);
    forward();
    getPosition(&temp); // 获取当前位置
    while (temp.posx < 2.4)
    {
        getPosition(&temp); // 获取当前位置
    }
    stop();
    HAL_Delay(500);

    place_block_id(3);
    forward();
    getPosition(&temp); // 获取当前位置
    while (temp.posx < 3.4)
    {
        getPosition(&temp); // 获取当前位置
    }
    stop();
    HAL_Delay(500);

    place_block_id(11);
    rightward();
    getPosition(&temp); // 获取当前位置
    while (temp.posy < 1.5)
    {
        getPosition(&temp); // 获取当前位置
    }
    stop();
    HAL_Delay(500);

    leftward();
    getPosition(&temp); // 获取当前位置
    while (temp.posy >= 0.5)
    {
        getPosition(&temp); // 获取当前位置
    }
    stop();
    HAL_Delay(500);

    backward();
    getPosition(&temp); // 获取当前位置
    while (temp.posx >= 1.8)
    {
        getPosition(&temp); // 获取当前位置
    }
    stop();
    HAL_Delay(500);

    backward();
    getPosition(&temp); // 获取当前位置
    while (temp.posx >= 0.8)
    {
        getPosition(&temp); // 获取当前位置
    }
    stop();
    HAL_Delay(500);

    trade_id(1);

    while (1)
    {
        if (getGameTime() > 200)
            break;
        if (getGameTime() <= 200)
        {
            if (getHeightOfChunk(1) == 0)
            {
                place_block_id(1);
            }
            forward();
            getPosition(&temp); // 获取当前位置
            while (temp.posx < 1.4)
            {
                getPosition(&temp); // 获取当前位置
            }
            stop();
            HAL_Delay(500);

            if (getHeightOfChunk(2) == 0)
            {
                place_block_id(2);
            }
            forward();
            getPosition(&temp); // 获取当前位置
            while (temp.posx < 2.4)
            {
                getPosition(&temp); // 获取当前位置
            }
            stop();
            HAL_Delay(500);

            if (getHeightOfChunk(3) == 0)
            {
                place_block_id(3);
            }
            forward();
            getPosition(&temp); // 获取当前位置
            while (temp.posx < 3.4)
            {
                getPosition(&temp); // 获取当前位置
            }
            stop();
            HAL_Delay(500);

            if (getHeightOfChunk(11) == 0)
            {
                place_block_id(11);
            }
            rightward();
            getPosition(&temp); // 获取当前位置
            while (temp.posy < 1.5)
            {
                getPosition(&temp); // 获取当前位置
            }
            stop();
            HAL_Delay(500);

            leftward();
            getPosition(&temp); // 获取当前位置
            while (temp.posy >= 0.5)
            {
                getPosition(&temp); // 获取当前位置
            }
            stop();
            HAL_Delay(500);

            backward();
            getPosition(&temp); // 获取当前位置
            while (temp.posx >= 1.8)
            {
                getPosition(&temp); // 获取当前位置
            }
            stop();
            HAL_Delay(500);

            backward();
            getPosition(&temp); // 获取当前位置
            while (temp.posx >= 0.8)
            {
                getPosition(&temp); // 获取当前位置
            }
            stop();
            HAL_Delay(500);

            trade_id(1);
        }
    }
}
// place_block_id(11);
// rightward();
// getPosition(&temp); // 获取当前位置
// while (temp.posy < 1.5)
// {
//     getPosition(&temp); // 获取当前位置
// }
// stop();
// HAL_Delay(500);

// place_block_id(19);
// rightward();
// getPosition(&temp); // 获取当前位置
// while (temp.posy < 2.5)
// {
//     getPosition(&temp); // 获取当前位置
// }
// stop();
// HAL_Delay(500);

// place_block_id(18);
// backward();
// getPosition(&temp); // 获取当前位置
// while (temp.posx >= 2.8)
// {
//     getPosition(&temp); // 获取当前位置
// }
// stop();
// HAL_Delay(500);

// place_block_id(17);
// backward();
// getPosition(&temp); // 获取当前位置
// while (temp.posx >= 1.8)
// {
//     getPosition(&temp); // 获取当前位置
// }
// stop();
// HAL_Delay(500);

// place_block_id(16);
// backward();
// getPosition(&temp); // 获取当前位置
// while (temp.posx >= 0.8)
// {
//     getPosition(&temp); // 获取当前位置
// }
// stop();
// HAL_Delay(500);

// place_block_id(8);
// leftward();
// getPosition(&temp); // 获取当前位置
// while (temp.posy >= 0.5)
// {
//     getPosition(&temp); // 获取当前位置
// }
// stop();
// HAL_Delay(500);

void Destination2()
{
    place_block_id(55);
    forward();
    Position_edc25 temp; // 用于存储当前位置
    getPosition(&temp);  // 获取当前位置
    while (temp.posy > 6.4)
    {
        getPosition(&temp); // 获取当前位置
    }
    stop();
    HAL_Delay(500);

    backward();
    getPosition(&temp); // 获取当前位置
    while (temp.posy <= 6.8)
    {
        getPosition(&temp); // 获取当前位置
    }
    for (int i = 0; i < 5; i++)
    {
        trade_id(3);
    }
    HAL_Delay(500);

    forward();
    getPosition(&temp); // 获取当前位置
    while (temp.posy > 6.4)
    {
        getPosition(&temp); // 获取当前位置
    }
    stop();
    HAL_Delay(500);

    place_block_id(47);
    forward();
    getPosition(&temp); // 获取当前位置
    while (temp.posy > 5.4)
    {
        getPosition(&temp); // 获取当前位置
    }
    stop();
    HAL_Delay(500);

    place_block_id(39);
    forward();
    getPosition(&temp); // 获取当前位置
    while (temp.posy > 4.4)
    {
        getPosition(&temp); // 获取当前位置
    }
    stop();
    HAL_Delay(500);

    backward();
    getPosition(&temp); // 获取当前位置
    while (temp.posy < 6.8)
    {
        getPosition(&temp); // 获取当前位置
    }
    stop();
    HAL_Delay(500);

    backward();
    getPosition(&temp); // 获取当前位置
    while (temp.posy < 7.8)
    {
        getPosition(&temp); // 获取当前位置
    }
    stop();
    HAL_Delay(500);

    while (1)
    {
        if (getGameTime() > 600)
            break;
        if (getGameTime() < 600)
        {
            if (getHeightOfChunk(55) == 0)
            {
                place_block_id(55);
            }
            forward();
            Position_edc25 temp; // 用于存储当前位置
            getPosition(&temp);  // 获取当前位置
            while (temp.posy > 6.4)
            {
                getPosition(&temp); // 获取当前位置
            }
            stop();
            HAL_Delay(500);

            if (getHeightOfChunk(47) == 0)
            {
                place_block_id(47);
            }
            forward();
            getPosition(&temp); // 获取当前位置
            while (temp.posy > 5.4)
            {
                getPosition(&temp); // 获取当前位置
            }
            stop();
            HAL_Delay(500);

            if (getHeightOfChunk(39) == 0)
            {
                place_block_id(39);
            }
            forward();
            getPosition(&temp); // 获取当前位置
            while (temp.posx > 4.4)
            {
                getPosition(&temp); // 获取当前位置
            }
            stop();
            HAL_Delay(500);

            backward();
            getPosition(&temp); // 获取当前位置
            while (temp.posy < 6.8)
            {
                getPosition(&temp); // 获取当前位置
            }
            stop();
            HAL_Delay(500);

            backward();
            getPosition(&temp); // 获取当前位置
            while (temp.posy < 7.8)
            {
                getPosition(&temp); // 获取当前位置
            }
            stop();
            HAL_Delay(500);
        }
    }
}

void turn_right()
{
    startYAW = YAW;
    pidstr.cset += 1.5;
    pidstr1.cset -= 1.5;
    pidstr2.cset -= 1.5;
    pidstr3.cset += 1.5;
    while (!((startYAW <= 270 && YAW >= startYAW + 90) || (startYAW >= 270 && YAW >= startYAW - 270 && YAW < 270)))
    {
        YAW = GetYaw();
    }
    pidstr.cset = 0;
    pidstr1.cset = 0;
    pidstr2.cset = 0;
    pidstr3.cset = 0;
    dir++;
}
void turn_left()
{
    startYAW = YAW;
    pidstr.cset -= 1.5;
    pidstr1.cset += 1.5;
    pidstr2.cset += 1.5;
    pidstr3.cset -= 1.5;
    while (!((startYAW <= 270 && YAW >= startYAW + 90) || (startYAW >= 270 && YAW >= startYAW - 270 && YAW < 270)))
    {
        YAW = GetYaw();
    }
    pidstr.cset = 0;
    pidstr1.cset = 0;
    pidstr2.cset = 0;
    pidstr3.cset = 0;
    HAL_Delay(10000);
}
void moveOneBlock(Position now, Position target)
{
    pidstr.cset += 1.5;
    pidstr1.cset -= 1.5;
    pidstr2.cset += 1.5;
    pidstr3.cset -= 1.5;
    Position_edc25 temp; // 用于存储当前位置
    getPosition(&temp);  // 获取当前位置
    if (temp.posy < target.y)
    {
        while (temp.posy >= target.y + 0.5) // 当前位置不等于目标位置时
        {
            getPosition(&temp); // 获取当前位置
        }
    }
    else
    {
        while (temp.posy <= target.y + 0.5) // 当前位置不等于目标位置时
        {
            getPosition(&temp); // 获取当前位置
        }
    }
    pidstr.cset = 0;
    pidstr1.cset = 0;
    pidstr2.cset = 0;
    pidstr3.cset = 0;
    HAL_Delay(500);
}
// 获得目标位置
Position_edc25 DestinationGet()
{
    Position_edc25 pos;
    return pos;
}

// 启动小车
void StartMoving()
{
    Position_edc25 temp_pos = DestinationGet();
    Position pos;
    pos.x = temp_pos.posx;
    pos.y = temp_pos.posy;
    des_pos = pos;
    Position_edc25 my_edc_pos;
    getPosition(&my_edc_pos);
    my_pos.x = my_edc_pos.posx;
    my_pos.y = my_edc_pos.posy;
    if (pos.x > my_pos.x)
    {
        // 向右移动
        rightward();
    }
    else if (pos.x < my_pos.x)
    {
        // 向左移动
        leftward();
    }
    else if (pos.y > my_pos.y)
    {
        // 向上移动
        forward();
    }
    else if (pos.y < my_pos.y)
    {
        // 向下移动
        backward();
    }
    if (pos.x == my_pos.x && pos.y == my_pos.y)
    {
        return;
    }
    else
    {
        StartMoving();
    }
    // printf("StartMoving\n");
}

// 停止小车
void StopMoving()
{
    // printf("StopMoving\n");
}
void getHeightAllChunks()
{
    uint8_t height[64];
    getHeightOfAllChunks(height);
    for (int i = 0; i < 64; ++i)
    {
        map_height[i / 8][i % 8] = height[i];
    }
}
int getHeightOfChunk(int chunk_id)
{
    return map_height[chunk_id / 8][chunk_id % 8];
}
void getMyPosition(Position *my_pos)
{
    Position_edc25 temp;
    getPosition(&temp);
    my_pos->x = (int)temp.posx;
    my_pos->y = (int)temp.posy;
}
void getMyOpponentPosition(Position *op_pos)
{
    Position_edc25 temp;
    getPositionOpponent(&temp);
    op_pos->x = (int)temp.posx;
    op_pos->y = (int)temp.posy;
}

Position_edc25 chunk_id_to_pos(int chunk_id)
{
    int x = chunk_id / 8;
    int y = chunk_id % 8;
    Position_edc25 pos = {x, y};
    return pos;
}

// 将坐标转换为chunk_id
int pos_to_chunk_id(Position pos)
{
    int chunk_id = pos.x * 8 + pos.y;
    return chunk_id;
}

void DestinationSet(int x, int y)
{
    des_pos.x = x;
    des_pos.y = y;
}
// 计算两点之间的曼哈顿距离
int get_distance(Position pos1, Position pos2)
{
    int distance = abs(pos1.x - pos2.x) + abs(pos1.y - pos2.y);
    return distance;
}
// 确定己方以及对方家的位置，初始化时完成
void get_home_pos()
{
    getMyPosition(&my_home_pos);
    getMyOpponentPosition(&op_home_pos);
}
// 释放分配的内存
void freePosPath(Position_edc25 *pos_path)
{
    free(pos_path);
}
// 回溯法生成所有路径
void backtrack(char **paths, int *pathCount, char *path, int left_steps, int up_steps, int index)
{
    if (left_steps == 0 && up_steps == 0)
    {
        paths[*pathCount] = (char *)malloc(strlen(path) + 1); // 分配足够的内存
        strcpy(paths[*pathCount], path);                      // 复制字符串到新内存
        (*pathCount)++;
        return;
    }

    if (left_steps > 0)
    {
        path[index] = '0';
        backtrack(paths, pathCount, path, left_steps - 1, up_steps, index + 1);
    }

    if (up_steps > 0)
    {
        path[index] = '1';
        backtrack(paths, pathCount, path, left_steps, up_steps - 1, index + 1);
    }
}

char **generatePaths(int x, int y, int *pathCount)
{
    int totalPaths = 1 << (x + y); // 2^(x+y) paths
    char **paths = (char **)malloc(sizeof(char *) * totalPaths);

    char *path = (char *)malloc(sizeof(char) * (x + y + 1));
    path[x + y] = '\0'; // Null-terminate the path

    *pathCount = 0;
    backtrack(paths, pathCount, path, x, y, 0);

    free(path);
    return paths;
}

Position *find_path(Position start, Position end, int *wool_need)
{
    int x = abs(end.x - start.x);
    int y = abs(end.y - start.y);
    // printf("%d %d\n", x, y);
    Position pos = start;
    Position *pos_path = (Position *)malloc(sizeof(Position) * (x + y));
    int count;
    int least_wool = x + y;
    int pathCount;
    char *best_path = (char *)malloc(sizeof(char) * (x + y + 1));
    char **paths = generatePaths(x, y, &pathCount);
    // printf("pathCount %d\n", pathCount);
    for (int i = 0; i < pathCount; ++i)
    {
        count = 0;
        pos = start;
        // printf("pos %d %d\n", pos.x, pos.y);
        // printf("path %s\n", paths[i]);
        for (int j = 0; j < strlen(paths[i]); ++j)
        {
            if (paths[i][j] == '0' && pos.x < end.x)
            {
                pos.x += 1;
            }
            else if (paths[i][j] == '0' && pos.x > end.x)
            {
                pos.x -= 1;
            }
            else if (paths[i][j] == '1' && pos.y < end.y)
            {
                pos.y += 1;
            }
            else if (paths[i][j] == '1' && pos.y > end.y)
            {
                pos.y -= 1;
            }
            if (map_height[pos.x][pos.y] == 0)
            {
                count++;
                // printf("map_height %d \n", map_height[pos.x][pos.y]);
                // printf("%d %d\n", pos.x, pos.y);
            }
        }
        // printf("count %d\n", count);
        // printf("least %d\n", least_wool);
        if (count <= least_wool)
        {
            least_wool = count;
            // printf("least %d\n", least_wool);
            for (int k = 0; k < strlen(paths[i]); ++k)
            {
                best_path[k] = paths[i][k];
            }
            // printf("best %s\n", best_path);
        }
    }
    *wool_need = least_wool;
    pos = start;
    for (int i = 0; i < strlen(best_path); ++i)
    {
        if (best_path[i] == '0' && pos.x < end.x)
        {
            pos.x += 1;
        }
        else if (best_path[i] == '0' && pos.x > end.x)
        {
            pos.x -= 1;
        }
        else if (best_path[i] == '1' && pos.y < end.y)
        {
            pos.y += 1;
        }
        else if (best_path[i] == '1' && pos.y > end.y)
        {
            pos.y -= 1;
        }
        // printf("%d %d\n", pos.x, pos.y);
        pos_path[i] = pos;
    }

    // 释放分配的内存
    for (int i = 0; i < pathCount; ++i)
    {
        free(paths[i]);
    }
    free(best_path);
    return pos_path;
}
bool track(Position my_pos, Position des_pos, int wool_num)
{
    int wool_need = 16;
    getHeightAllChunks();
    Position *path = find_path(my_pos, des_pos, &wool_need);
    // printf("wool_need %d\n", wool_need);
    // printf("wool_num %d\n", wool_num);
    // 如果所需羊毛数量大于拥有的羊毛数量，返回False
    if (wool_need > wool_num)
    {
        free(path);
        return false;
    }
    // printf("path %d %d\n", path[0].x, path[0].y);
    // 循环遍历路径
    for (int i = 0; i < sizeof(path) / sizeof(path[0]); ++i)
    {
        // 获取区块ID并检查高度
        int chunk_id = pos_to_chunk_id(path[i]);
        if (getHeightOfChunk(chunk_id) == 0)
        {
            place_block_id(pos_to_chunk_id((Position){path[i].x, path[i].y}));
        }
        DestinationSet(path[i].x, path[i].y);
        StartMoving();
        // 等待移动到指定位置
        getMyPosition(&my_pos);
        while (my_pos.x != path[i].x || my_pos.y != path[i].y)
        {
            // usleep(100000);
            getMyPosition(&my_pos);
        }
    }
    // 释放分配的内存
    free(path);
    return true;
}
// 采矿函数
// 钻石矿
int dia_mining()
{
    int num = 0;
    if (dia_judge == true)
    {
        dia_judge = false;
        for (int i = 0; i < sizeof(dia_pos_list) / sizeof(dia_pos_list[0]); ++i)
        {
            Position dia_pos = dia_pos_list[i];
            // printf("%d %d\n", dia_pos.x, dia_pos.y);
            getHeightAllChunks();
            getMyPosition(&my_pos);
            // printf("%d %d\n", my_pos.x, my_pos.y);
            bool judge = track(my_pos, dia_pos, getWoolCount());
            if (judge == false)
            {
                return num;
            }
            num += 1;
            if (getWoolCount() <= mine_wool_num)
            {
                return num;
            }
        }
    }
    else
    {
        dia_judge = true;
        for (int i = sizeof(dia_pos_list) / sizeof(dia_pos_list[0]) - 1; i >= 0; --i)
        {
            Position dia_pos = dia_pos_list[i];
            // printf("%d %d\n", dia_pos.x, dia_pos.y);
            getMyPosition(&my_pos);
            // printf("%d %d\n", my_pos.x, my_pos.y);
            bool judge = track(my_pos, dia_pos, getWoolCount());
            if (judge == false)
            {
                return num;
            }
            num += 1;
            if (getWoolCount() <= mine_wool_num)
            {
                return num;
            }
        }
    }
    return num;
}

// 黄金矿
int gold_mining()
{
    int num = 0;
    if (gold_judge == true)
    {
        gold_judge = false;
        for (int i = 0; i < sizeof(gold_pos_list) / sizeof(gold_pos_list[0]); ++i)
        {
            Position gold_pos = gold_pos_list[i];
            printf("%d %d\n", gold_pos.x, gold_pos.y);
            getHeightAllChunks(map_height);
            getMyPosition(&my_pos);
            printf("%d %d\n", my_pos.x, my_pos.y);
            bool judge = track(my_pos, gold_pos, getWoolCount());
            if (judge == false)
            {
                return num;
            }
            num += 1;
            if (getWoolCount() <= mine_wool_num)
            {
                return num;
            }
        }
    }
    else
    {
        gold_judge = true;
        for (int i = sizeof(gold_pos_list) / sizeof(gold_pos_list[0]) - 1; i >= 0; --i)
        {
            Position gold_pos = gold_pos_list[i];
            // printf("%d %d\n", gold_pos.x, gold_pos.y);
            getMyPosition(&my_pos);
            // printf("%d %d\n", my_pos.x, my_pos.y);
            bool judge = track(my_pos, gold_pos, getWoolCount());
            if (judge == false)
            {
                return num;
            }
            num += 1;
            if (getWoolCount() <= mine_wool_num)
            {
                return num;
            }
        }
    }
    return num;
}

// 铁矿
int iron_mining()
{
    int num = 0;
    if (iron_judge == true)
    {
        iron_judge = false;
        for (int i = 0; i < sizeof(iron_pos_list) / sizeof(iron_pos_list[0]); ++i)
        {
            Position iron_pos = iron_pos_list[i];
            printf("%d %d\n", iron_pos.x, iron_pos.y);
            getHeightAllChunks();
            getMyPosition(&my_pos);
            printf("%d %d\n", my_pos.x, my_pos.y);
            bool judge = track(my_pos, iron_pos, getWoolCount());
            if (judge == false)
            {
                return num;
            }
            num += 1;
            if (getWoolCount() <= mine_wool_num)
            {
                return num;
            }
        }
    }
    else
    {
        iron_judge = true;
        for (int i = sizeof(iron_pos_list) / sizeof(iron_pos_list[0]) - 1; i >= 0; --i)
        {
            Position iron_pos = iron_pos_list[i];
            printf("%d %d\n", iron_pos.x, iron_pos.y);
            getMyPosition(&my_pos);
            printf("%d %d\n", my_pos.x, my_pos.y);
            bool judge = track(my_pos, iron_pos, getWoolCount());
            if (judge == false)
            {
                return num;
            }
            num += 1;
            if (getWoolCount() <= mine_wool_num)
            {
                return num;
            }
        }
    }
    return num;
}

// 偷家函数
bool steal()
{
    // printf("steal\n");
    getMyPosition(&my_pos);
    getMyOpponentPosition(&op_pos);
    // printf("%d %d\n", my_pos.x, my_pos.y);
    // printf("%d %d\n", op_pos.x, op_pos.y);
    if (abs(op_pos.x - op_home_pos.x) + abs(op_pos.y - op_home_pos.y) >= stole_step && getWoolCount() >= get_distance(my_pos, op_home_pos) + stole_wool_num && getHeightOfChunk(pos_to_chunk_id(op_home_pos)) < stole_height)
    {
        // 到达对方家的位置九宫内的位置
        Position attack_pos;
        if (op_home_pos.x == 0 && op_home_pos.y == 0)
        {
            attack_pos.x = 1;
            attack_pos.y = 0;
        }
        else if (op_home_pos.x == 7 && op_home_pos.y == 7)
        {
            attack_pos.x = 6;
            attack_pos.y = 7;
        }
        // printf("%d %d\n", attack_pos.x, attack_pos.y);
        getHeightAllChunks(map_height);
        track(my_pos, attack_pos, getWoolCount());
        int judge_height;
        judge_height = getHeightOfChunk(pos_to_chunk_id(op_home_pos));
        attack_id(pos_to_chunk_id(op_home_pos));
        getMyOpponentPosition(&op_pos);
        while (getHeightOfChunk(pos_to_chunk_id(op_home_pos)) > 0 && abs(op_pos.x - op_home_pos.x) + abs(op_pos.y - op_home_pos.y) > 2)
        {
            int now_height = getHeightOfChunk(pos_to_chunk_id(op_home_pos));
            if (now_height < judge_height)
            {
                judge_height = now_height;
                getMyOpponentPosition(&op_pos);
                continue;
            }
            else
            {
                return false;
            }
        }
        if (getHeightOfChunk(pos_to_chunk_id(op_home_pos)) == 0)
        {
            return true;
        }
    }

    return false;
}

// 攻击函数
void attack()
{
    if (op_pos.x - my_pos.x <= 1 && op_pos.y - my_pos.y <= 1)
    {
        attack_id(pos_to_chunk_id(op_pos));
    }
}

// 死亡循迹函数
bool move_to_pos(Position my_home_pos)
{
    // printf("move_to_pos\n");
    // printf("%d %d\n", my_pos.x, my_pos.y);
    getMyPosition(&my_pos);
    // printf("%d\n", a);
    Position next_pos;
    // printf("%d %d\n", my_pos.x, my_pos.y);
    // printf("%d %d\n", my_home_pos.x, my_home_pos.y);
    while (my_home_pos.x != my_pos.x || my_home_pos.y != my_pos.y)
    {
        if (my_home_pos.x < my_pos.x)
        {
            DestinationSet(my_pos.x - 1, my_pos.y);
            next_pos.x = my_pos.x - 1;
            next_pos.y = my_pos.y;
        }
        else if (my_home_pos.x > my_pos.x)
        {
            DestinationSet(my_pos.x + 1, my_pos.y);
            next_pos.x = my_pos.x + 1;
            next_pos.y = my_pos.y;
        }
        else if (my_home_pos.y < my_pos.y)
        {
            DestinationSet(my_pos.x, my_pos.y - 1);
            next_pos.x = my_pos.x;
            next_pos.y = my_pos.y - 1;
        }
        else if (my_home_pos.y > my_pos.y)
        {
            DestinationSet(my_pos.x, my_pos.y + 1);
            next_pos.x = my_pos.x;
            next_pos.y = my_pos.y + 1;
        }

        StartMoving();

        // 等待移动到指定位置
        while (my_pos.x != next_pos.x || my_pos.y != next_pos.y)
        {
            // HAL_Delay(100);
            getMyPosition(&my_pos);
            // printf("%d %d\n", my_pos.x, my_pos.y);
        }
    }

    // 假设有一个获取当前血量的函数 getHealth
    return true; // 返回 1 表示成功
}

// 死亡函数
void die()
{
    if (getHealth() == 0)
    {
        move_to_pos(my_home_pos);
    }
}

// 钻石矿(首次采矿)
int dia_mining_first()
{
    int init_emerald = getEmeraldCount();
    int num = 0;
    if (dia_judge == true)
    {
        dia_judge = false;
        for (int i = 0; i < sizeof(dia_pos_list) / sizeof(dia_pos_list[0]); ++i)
        {
            Position dia_pos = dia_pos_list[i];
            // printf("%d %d\n", dia_pos.x, dia_pos.y);
            getHeightAllChunks(map_height);
            getMyPosition(&my_pos);
            // printf("%d %d\n", my_pos.x, my_pos.y);
            bool judge = track(my_pos, dia_pos, getWoolCount());
            if (judge == false)
            {
                continue;
            }
            num += 1;
            getMyPosition(&my_pos);
            getMyOpponentPosition(&op_pos);
            // 地图判断出错
            if (getEmeraldCount() < init_emerald + 16 && get_distance(my_pos, op_pos) >= 6)
            {
                move_to_pos(my_home_pos);
                StopMoving();
                while (getGameStage() == 1)
                {
                    attack();
                    while (getEmeraldCount() >= 2 && getWoolCount() <= 3)
                    {
                        trade_id(3);
                    }
                    while (getWoolCount() > 0 && getHeightOfChunk(pos_to_chunk_id(my_home_pos)) <= 3)
                    {
                        place_block_id(pos_to_chunk_id(my_home_pos));
                    }
                    while (getEmeraldCount() >= 32 && getAglity() < agility_limit)
                    {
                        trade_id(0);
                    }
                    while (getEmeraldCount() >= 64 && getStrength() < strength_limit)
                    {
                        trade_id(2);
                    }
                    while (getEmeraldCount() >= 32 && getMaxHealth() < health_height_limit)
                    {
                        trade_id(4);
                    }
                }
            }
            if (getWoolCount() <= mine_wool_num)
            {
                return num;
            }
        }
    }
    return num;
}

/* USER CODE END 4 */

void Error_Handler(void)
{
    __disable_irq();
    while (1)
    {
    }
}
